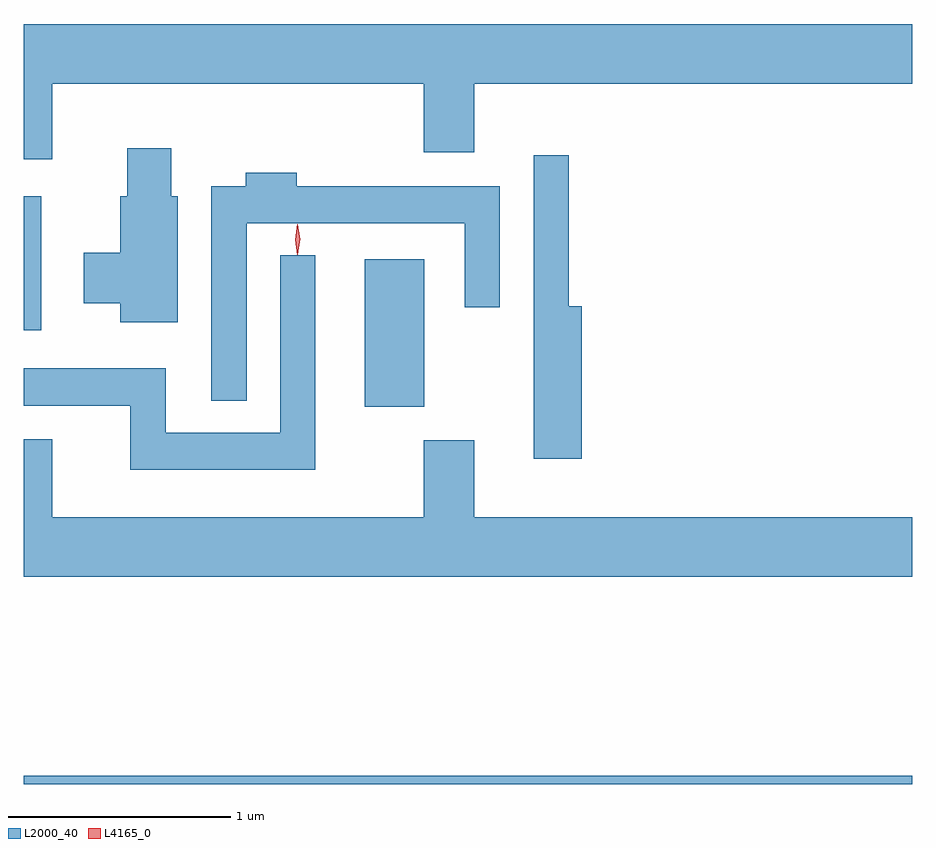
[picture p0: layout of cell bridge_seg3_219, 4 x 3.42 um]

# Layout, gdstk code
import gdstk
lib = gdstk.Library(unit=1e-6, precision=1e-09)
def R(c, l, rs):  # rectangles x0, y0, x1, y1
    for r in rs: c.add(gdstk.rectangle(r[:2], r[2:], *l))
def P(c, l, *ps):  # polygons
    for p in ps: c.add(gdstk.Polygon(p, *l))
L2000_40 = (2000, 40)
L4165_0 = (4165, 0)

bridge_seg3_219 = lib.new_cell('bridge_seg3_219')
R(bridge_seg3_219, L2000_40, [(935.591,1167.262,939.591,1167.299), (937.126,1168.961,937.394,1169.624), (935.591,1169.306,935.669,1169.909)])
P(bridge_seg3_219, L2000_40, [(935.719,1170.416),(937.391,1170.416),(937.391,1170.106),(937.619,1170.106),(937.619,1170.416),(939.591,1170.416),(939.591,1170.684),(935.591,1170.684),(935.591,1170.076),(935.719,1170.076)],
  [(936.284,1169.909),(936.254,1169.909),(936.254,1170.124),(936.056,1170.124),(936.056,1169.909),(936.026,1169.909),(936.026,1169.654),(935.861,1169.654),(935.861,1169.426),(936.026,1169.426),(936.026,1169.341),(936.284,1169.341)],
  [(938.104,1169.414),(938.044,1169.414),(938.044,1170.093),(937.886,1170.093),(937.886,1168.726),(938.104,1168.726)],
  [(936.594,1169.786),(937.576,1169.786),(937.576,1169.408),(937.734,1169.408),(937.734,1169.954),(936.819,1169.954),(936.819,1170.014),(936.591,1170.014),(936.591,1169.954),(936.436,1169.954),(936.436,1168.988),(936.594,1168.988)],
  [(936.904,1169.643),(936.746,1169.643),(936.746,1168.844),(936.229,1168.844),(936.229,1169.134),(935.591,1169.134),(935.591,1168.966),(936.071,1168.966),(936.071,1168.676),(936.904,1168.676)],
  [(939.591,1168.464),(937.619,1168.464),(937.619,1168.809),(937.391,1168.809),(937.391,1168.464),(935.719,1168.464),(935.719,1168.814),(935.591,1168.814),(935.591,1168.196),(939.591,1168.196)])
P(bridge_seg3_219, L4165_0, [(936.825,1169.647),(936.824,1169.648),(936.815,1169.714),(936.824,1169.78),(936.825,1169.781),(936.825,1169.78),(936.835,1169.714),(936.825,1169.648)],
  [(936.823,1169.644),(936.814,1169.713),(936.823,1169.782),(936.823,1169.783),(936.824,1169.782),(936.834,1169.713),(936.824,1169.644),(936.824,1169.644)])

lib.write_gds('bridge_seg3_219.gds')
